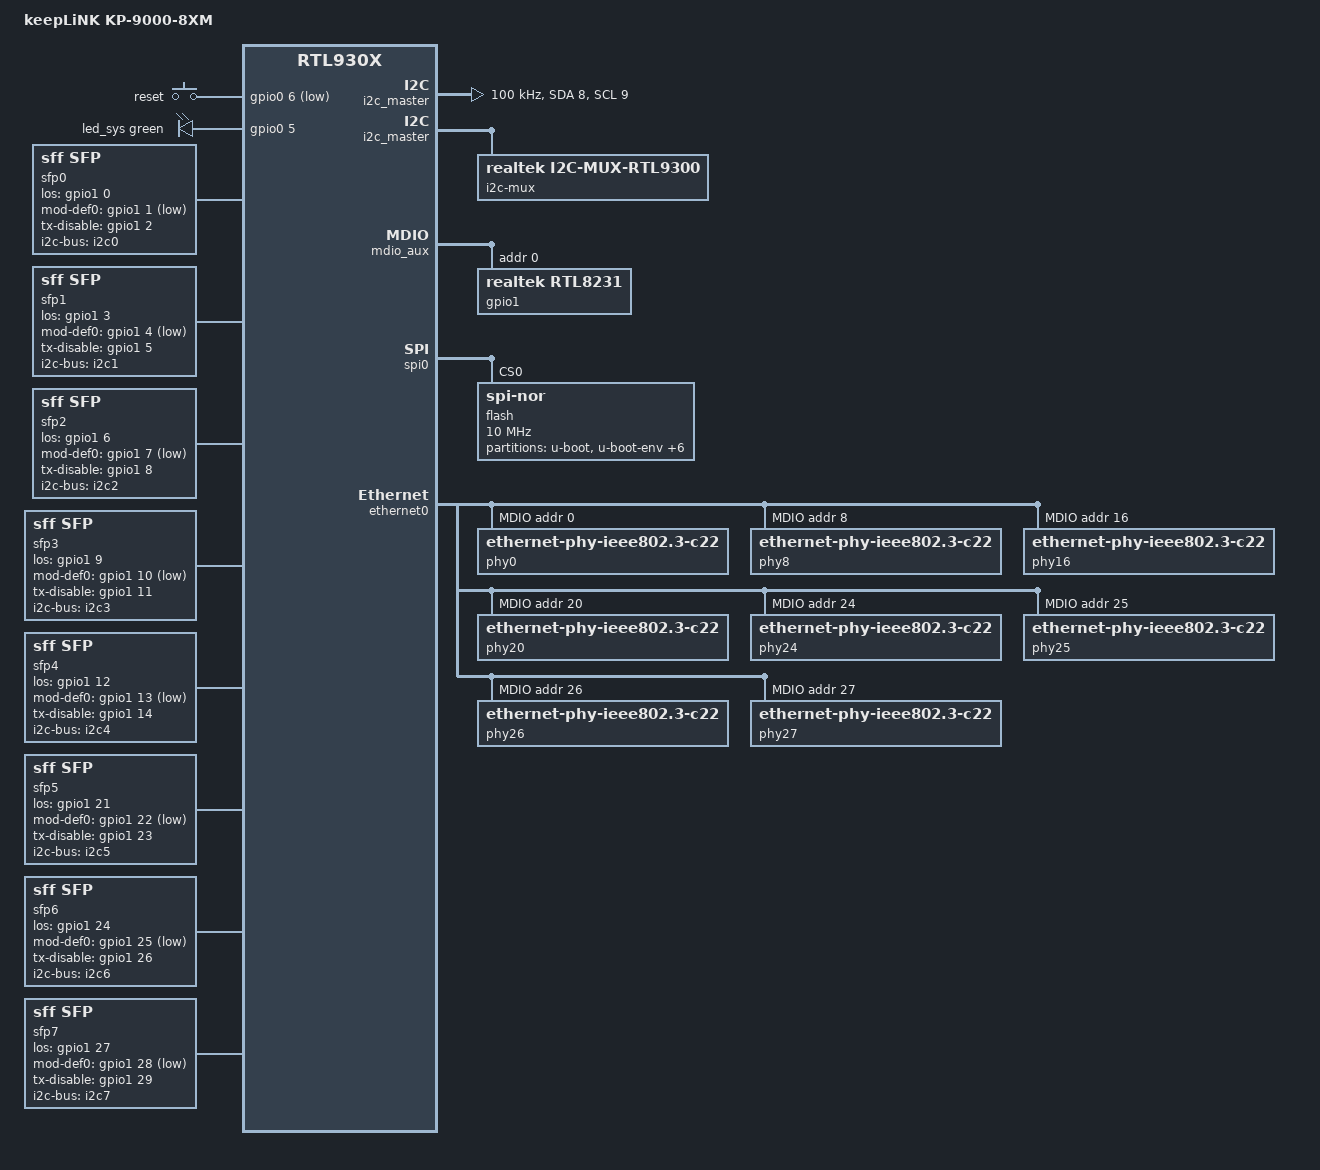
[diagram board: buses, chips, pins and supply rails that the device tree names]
// SPDX-License-Identifier: GPL-2.0-or-later

#include "rtl930x.dtsi"

#include <dt-bindings/input/input.h>
#include <dt-bindings/gpio/gpio.h>
#include <dt-bindings/leds/common.h>

/ {
	compatible = "keeplink,kp-9000-8xm", "realtek,rtl930x-soc";
	model = "keepLiNK KP-9000-8XM";

	aliases {
		led-boot = &led_sys;
		led-failsafe = &led_sys;
		led-running = &led_sys;
		led-upgrade = &led_sys;
	};

	i2c_master: i2c@1b00036c {
		compatible = "realtek,rtl9300-i2c";
		reg = <0x1b00036c 0x50>;
		#address-cells = <1>;
		#size-cells = <0>;
		scl-pin = <9>;
		sda-pin = <8>;
		clock-frequency = <100000>;
	};

	i2c-mux {
		compatible = "realtek,i2c-mux-rtl9300";
		i2c-parent = <&i2c_master>;
		#address-cells = <1>;
		#size-cells = <0>;

		i2c0: i2c@0 {
			reg = <0>;
			scl-pin = <9>;
			sda-pin = <8>;
		};

		i2c1: i2c@1 {
			reg = <1>;
			scl-pin = <11>;
			sda-pin = <10>;
		};

		i2c2: i2c@2 {
			reg = <2>;
			scl-pin = <13>;
			sda-pin = <12>;
		};

		i2c3: i2c@3 {
			reg = <3>;
			scl-pin = <15>;
			sda-pin = <14>;
		};

		i2c4: i2c@4 {
			reg = <4>;
			scl-pin = <17>;
			sda-pin = <16>;
		};

		i2c5: i2c@5 {
			reg = <5>;
			scl-pin = <19>;
			sda-pin = <18>;
		};

		i2c6: i2c@6 {
			reg = <6>;
			scl-pin = <21>;
			sda-pin = <20>;
		};

		i2c7: i2c@7 {
			reg = <7>;
			scl-pin = <23>;
			sda-pin = <22>;
		};
	};

	keys {
		compatible = "gpio-keys";

		button-reset {
			label = "reset";
			gpios = <&gpio0 6 GPIO_ACTIVE_LOW>;
			linux,code = <KEY_RESTART>;
		};
	};

	leds {
		compatible = "gpio-leds";

		led_sys: led-0 {
			gpios = <&gpio0 5 GPIO_ACTIVE_HIGH>;
			color = <LED_COLOR_ID_GREEN>;
			function = LED_FUNCTION_STATUS;
		};
	};

	led_set {
		compatible = "realtek,rtl9300-leds";
		active-low;

		/*
		 * LED set 0
		 *
		 * - LED[0](Amber): 10G/LINK/ACT
		 * - LED[1](Green): 10M/100M/1G/2.5G/5G/LINK/ACT
		 */
		led_set0 = <0x0a01 0x0baa>;
	};

	sfp0: sfp-p1 {
		compatible = "sff,sfp";
		i2c-bus = <&i2c0>;
		los-gpio = <&gpio1 0 GPIO_ACTIVE_HIGH>;
		mod-def0-gpio = <&gpio1 1 GPIO_ACTIVE_LOW>;
		tx-disable-gpio = <&gpio1 2 GPIO_ACTIVE_HIGH>;
		maximum-power-milliwatt = <1000>;
	};

	sfp1: sfp-p2 {
		compatible = "sff,sfp";
		i2c-bus = <&i2c1>;
		los-gpio = <&gpio1 3 GPIO_ACTIVE_HIGH>;
		mod-def0-gpio = <&gpio1 4 GPIO_ACTIVE_LOW>;
		tx-disable-gpio = <&gpio1 5 GPIO_ACTIVE_HIGH>;
		maximum-power-milliwatt = <1000>;
	};

	sfp2: sfp-p3 {
		compatible = "sff,sfp";
		i2c-bus = <&i2c2>;
		los-gpio = <&gpio1 6 GPIO_ACTIVE_HIGH>;
		mod-def0-gpio = <&gpio1 7 GPIO_ACTIVE_LOW>;
		tx-disable-gpio = <&gpio1 8 GPIO_ACTIVE_HIGH>;
		maximum-power-milliwatt = <1000>;
	};

	sfp3: sfp-p4 {
		compatible = "sff,sfp";
		i2c-bus = <&i2c3>;
		los-gpio = <&gpio1 9 GPIO_ACTIVE_HIGH>;
		mod-def0-gpio = <&gpio1 10 GPIO_ACTIVE_LOW>;
		tx-disable-gpio = <&gpio1 11 GPIO_ACTIVE_HIGH>;
		maximum-power-milliwatt = <1000>;
	};

	sfp4: sfp-p5 {
		compatible = "sff,sfp";
		i2c-bus = <&i2c4>;
		los-gpio = <&gpio1 12 GPIO_ACTIVE_HIGH>;
		mod-def0-gpio = <&gpio1 13 GPIO_ACTIVE_LOW>;
		tx-disable-gpio = <&gpio1 14 GPIO_ACTIVE_HIGH>;
		maximum-power-milliwatt = <1000>;
	};

	sfp5: sfp-p6 {
		compatible = "sff,sfp";
		i2c-bus = <&i2c5>;
		los-gpio = <&gpio1 21 GPIO_ACTIVE_HIGH>;
		mod-def0-gpio = <&gpio1 22 GPIO_ACTIVE_LOW>;
		tx-disable-gpio = <&gpio1 23 GPIO_ACTIVE_HIGH>;
		maximum-power-milliwatt = <1000>;
	};

	sfp6: sfp-p7 {
		compatible = "sff,sfp";
		i2c-bus = <&i2c6>;
		los-gpio = <&gpio1 24 GPIO_ACTIVE_HIGH>;
		mod-def0-gpio = <&gpio1 25 GPIO_ACTIVE_LOW>;
		tx-disable-gpio = <&gpio1 26 GPIO_ACTIVE_HIGH>;
		maximum-power-milliwatt = <1000>;
	};

	sfp7: sfp-p8 {
		compatible = "sff,sfp";
		i2c-bus = <&i2c7>;
		los-gpio = <&gpio1 27 GPIO_ACTIVE_HIGH>;
		mod-def0-gpio = <&gpio1 28 GPIO_ACTIVE_LOW>;
		tx-disable-gpio = <&gpio1 29 GPIO_ACTIVE_HIGH>;
		maximum-power-milliwatt = <1000>;
	};
};

&mdio_aux {
	status = "okay";

	gpio1: gpio@0 {
		compatible = "realtek,rtl8231";
		reg = <0>;

		gpio-controller;
		#gpio-cells = <2>;
		gpio-ranges = <&gpio1 0 0 37>;

		led-controller {
			compatible = "realtek,rtl8231-leds";
			status = "disabled";
		};
	};
};

&spi0 {
	status = "okay";

	flash@0 {
		compatible = "jedec,spi-nor";
		reg = <0>;
		spi-max-frequency = <10000000>;

		partitions {
			compatible = "fixed-partitions";
			#address-cells = <1>;
			#size-cells = <1>;

			/* LOADER */
			partition@0 {
				label = "u-boot";
				reg = <0x0 0xe0000>;
				read-only;
			};

			/* BDINFO */
			partition@e0000{
				label = "u-boot-env";
				reg = <0xe0000 0x10000>;
				read-only;
			};

			/* SYSINFO */
			partition@f0000 {
				label = "u-boot-env2";
				reg = <0xf0000 0x10000>;
				read-only;
			};

			/* JFFS2_CFG */
			partition@100000 {
				label = "jffs2_cfg";
				reg = <0x100000 0x100000>;
				read-only;
			};

			/* JFFS2_LOG */
			partition@200000 {
				label = "jffs2_log";
				reg = <0x200000 0x100000>;
				read-only;
			};

			/* RUNTIME */
			partition@300000 {
				compatible = "openwrt,uimage", "denx,uimage";
				label = "firmware";
				reg = <0x300000 0xe00000>;
				openwrt,ih-magic = <0x93000000>;
			};

			/* RUNTIME2 */
			partition@1100000 {
				label = "runtime2";
				reg = <0x1100000 0xe00000>;
			};

			/* OEMINFO */
			partition@1f00000 {
				label = "oeminfo";
				reg = <0x1f00000 0x100000>;
				read-only;
			};
		};
	};
};

&ethernet0 {
	mdio: mdio-bus {
		compatible = "realtek,rtl838x-mdio";
		regmap = <&ethernet0>;
		#address-cells = <1>;
		#size-cells = <0>;

		phy0: ethernet-phy@0 {
			compatible = "ethernet-phy-ieee802.3-c22";
			phy-is-integrated;
			reg = <0>;
			sds = <2>;
		};

		phy8: ethernet-phy@8 {
			compatible = "ethernet-phy-ieee802.3-c22";
			phy-is-integrated;
			reg = <8>;
			sds = <3>;
		};

		phy16: ethernet-phy@10 {
			compatible = "ethernet-phy-ieee802.3-c22";
			phy-is-integrated;
			reg = <16>;
			sds = <4>;
		};

		phy20: ethernet-phy@14 {
			compatible = "ethernet-phy-ieee802.3-c22";
			phy-is-integrated;
			reg = <20>;
			sds = <5>;
		};

		phy24: ethernet-phy@18 {
			compatible = "ethernet-phy-ieee802.3-c22";
			phy-is-integrated;
			reg = <24>;
			sds = <6>;
		};

		phy25: ethernet-phy@19 {
			compatible = "ethernet-phy-ieee802.3-c22";
			phy-is-integrated;
			reg = <25>;
			sds = <7>;
		};

		phy26: ethernet-phy@1a {
			compatible = "ethernet-phy-ieee802.3-c22";
			phy-is-integrated;
			reg = <26>;
			sds = <8>;
		};

		phy27: ethernet-phy@1b {
			compatible = "ethernet-phy-ieee802.3-c22";
			phy-is-integrated;
			reg = <27>;
			sds = <9>;
		};
	};
};

&switch0 {
	ports {
		#address-cells = <1>;
		#size-cells = <0>;

		port@0 {
			reg = <0>;
			label = "lan1";
			phy-handle = <&phy0>;
			phy-mode = "10gbase-r";
			sfp = <&sfp0>;
			managed = "in-band-status";
			led-set = <0>;
		};

		port@8 {
			reg = <8>;
			label = "lan2";
			phy-handle = <&phy8>;
			phy-mode = "10gbase-r";
			sfp = <&sfp1>;
			managed = "in-band-status";
			led-set = <0>;
		};

		port@10 {
			reg = <16>;
			label = "lan3";
			phy-handle = <&phy16>;
			phy-mode = "10gbase-r";
			sfp = <&sfp2>;
			managed = "in-band-status";
			led-set = <0>;
		};

		port@14 {
			reg = <20>;
			label = "lan4";
			phy-handle = <&phy20>;
			phy-mode = "10gbase-r";
			sfp = <&sfp3>;
			managed = "in-band-status";
			led-set = <0>;
		};

		port@18 {
			reg = <24>;
			label = "lan5";
			phy-handle = <&phy24>;
			phy-mode = "10gbase-r";
			sfp = <&sfp4>;
			managed = "in-band-status";
			led-set = <0>;
		};

		port@19 {
			reg = <25>;
			label = "lan6";
			phy-handle = <&phy25>;
			phy-mode = "10gbase-r";
			sfp = <&sfp5>;
			managed = "in-band-status";
			led-set = <0>;
		};

		port@1a {
			reg = <26>;
			label = "lan7";
			phy-handle = <&phy26>;
			phy-mode = "10gbase-r";
			sfp = <&sfp6>;
			managed = "in-band-status";
			led-set = <0>;
		};

		port@1b {
			reg = <27>;
			label = "lan8";
			phy-handle = <&phy27>;
			phy-mode = "10gbase-r";
			sfp = <&sfp7>;
			managed = "in-band-status";
			led-set = <0>;
		};

		port@1c {
			ethernet = <&ethernet0>;
			reg = <28>;
			phy-mode = "internal";

			fixed-link {
				speed = <10000>;
				full-duplex;
			};
		};
	};
};
